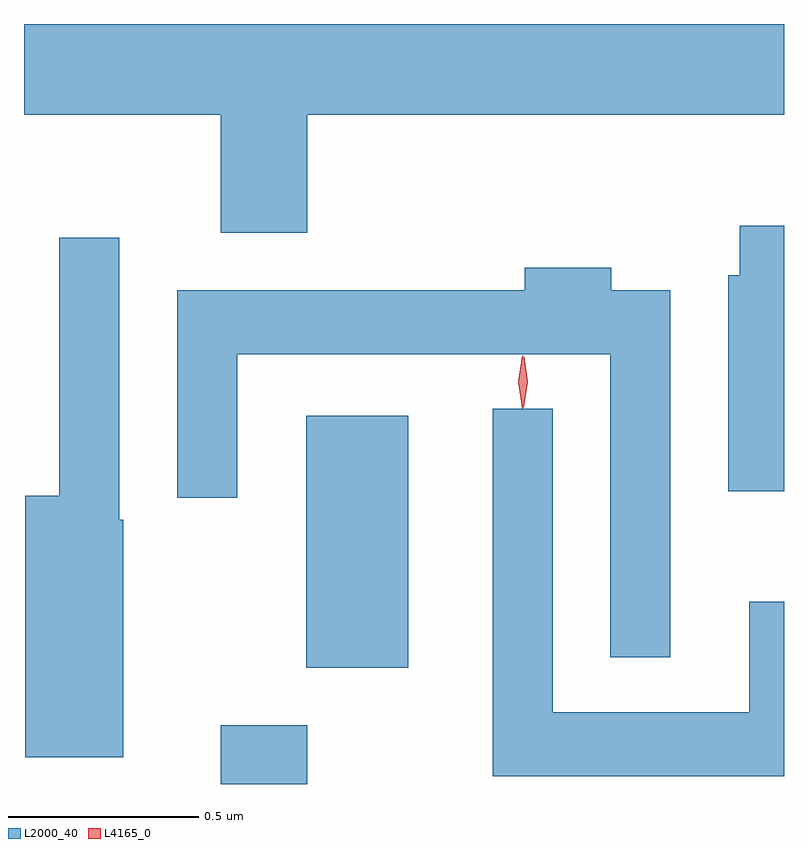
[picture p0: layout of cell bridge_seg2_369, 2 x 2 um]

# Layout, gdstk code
import gdstk
lib = gdstk.Library(unit=1e-6, precision=1e-09)
def R(c, l, rs):  # rectangles x0, y0, x1, y1
    for r in rs: c.add(gdstk.rectangle(r[:2], r[2:], *l))
def P(c, l, *ps):  # polygons
    for p in ps: c.add(gdstk.Polygon(p, *l))
L2000_40 = (2000, 40)
L4165_0 = (4165, 0)

bridge_seg2_369 = lib.new_cell('bridge_seg2_369')
R(bridge_seg2_369, L2000_40, [(449.621,1039.895,449.849,1040.049), (449.846,1040.201,450.114,1040.864)])
P(bridge_seg2_369, L2000_40, [(449.849,1041.656),(451.103,1041.656),(451.103,1041.895),(449.103,1041.895),(449.103,1041.656),(449.621,1041.656),(449.621,1041.346),(449.849,1041.346)],
  [(451.103,1041.364),(450.986,1041.364),(450.986,1041.234),(450.956,1041.234),(450.956,1040.666),(451.103,1040.666)],
  [(449.364,1040.59),(449.354,1040.59),(449.354,1041.333),(449.196,1041.333),(449.196,1040.654),(449.106,1040.654),(449.106,1039.966),(449.364,1039.966)],
  [(450.804,1041.194),(450.649,1041.194),(450.649,1041.254),(450.421,1041.254),(450.421,1041.194),(449.506,1041.194),(449.506,1040.648),(449.664,1040.648),(449.664,1041.026),(450.646,1041.026),(450.646,1040.228),(450.804,1040.228)],
  [(451.103,1040.374),(451.011,1040.374),(451.011,1040.084),(450.494,1040.084),(450.494,1040.882),(450.336,1040.882),(450.336,1039.916),(451.103,1039.916)])
P(bridge_seg2_369, L4165_0, [(450.414,1040.884),(450.414,1040.884),(450.404,1040.954),(450.414,1041.022),(450.414,1041.023),(450.415,1041.022),(450.424,1040.954),(450.415,1040.884)],
  [(450.417,1040.887),(450.408,1040.954),(450.418,1041.02),(450.418,1041.02),(450.419,1041.02),(450.428,1040.954),(450.418,1040.887),(450.418,1040.887)])

lib.write_gds('bridge_seg2_369.gds')
